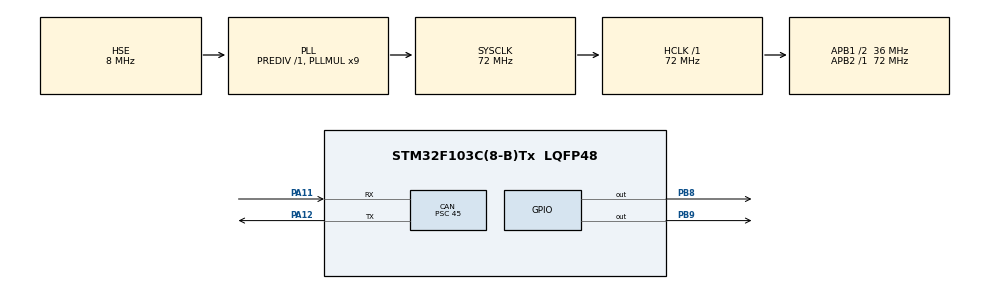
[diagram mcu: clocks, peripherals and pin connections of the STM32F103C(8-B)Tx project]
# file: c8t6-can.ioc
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CAN.BS1=CAN_BS1_3TQ
CAN.BS2=CAN_BS2_4TQ
CAN.CalculateBaudRate=100000
CAN.CalculateTimeBit=10000.00
CAN.CalculateTimeQuantum=1250.0
CAN.Mode=CAN_MODE_LOOPBACK
CAN.Prescaler=45
CAN.SJW=CAN_SJW_2TQ
Mcu.Family=STM32F1
Mcu.Name=STM32F103C(8-B)Tx
Mcu.Package=LQFP48
NVIC.PriorityGroup=NVIC_PRIORITYGROUP_4
NVIC.USB_LP_CAN1_RX0_IRQn=true\:0\:0\:false\:false\:true\:true\:true
PA11.Mode=CAN_Activate
PA11.Signal=CAN_RX
PA12.Mode=CAN_Activate
PA12.Signal=CAN_TX
PA13.Mode=Serial_Wire
PA13.Signal=SYS_JTMS-SWDIO
PA14.Mode=Serial_Wire
PA14.Signal=SYS_JTCK-SWCLK
PB8.GPIO_PuPd=GPIO_PULLUP
PB8.Signal=GPIO_Output
PB9.Signal=GPIO_Output
PD0-OSC_IN.Mode=HSE-External-Oscillator
PD0-OSC_IN.Signal=RCC_OSC_IN
PD1-OSC_OUT.Mode=HSE-External-Oscillator
PD1-OSC_OUT.Signal=RCC_OSC_OUT
ProjectManager.HeapSize=0x200
ProjectManager.StackSize=0x400
ProjectManager.TargetToolchain=MDK-ARM V5.27
RCC.AHBFreq_Value=72000000
RCC.APB1CLKDivider=RCC_HCLK_DIV2
RCC.APB1Freq_Value=36000000
RCC.APB1TimFreq_Value=72000000
RCC.APB2Freq_Value=72000000
RCC.APB2TimFreq_Value=72000000
RCC.HCLKFreq_Value=72000000
RCC.PLLMUL=RCC_PLL_MUL9
RCC.PLLSourceVirtual=RCC_PLLSOURCE_HSE
RCC.SYSCLKFreq_VALUE=72000000
RCC.SYSCLKSource=RCC_SYSCLKSOURCE_PLLCLK
RCC.USBFreq_Value=72000000
board=custom

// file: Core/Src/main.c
/* USER CODE BEGIN Header */
/**
  ******************************************************************************
  * @file           : main.c
  * @brief          : Main program body
  ******************************************************************************
  * @attention
  *
  * <h2><center>&copy; Copyright (c) 2025 STMicroelectronics.
  * All rights reserved.</center></h2>
  *
  * This software component is licensed by ST under BSD 3-Clause license,
  * the "License"; You may not use this file except in compliance with the
  * License. You may obtain a copy of the License at:
  *                        opensource.org/licenses/BSD-3-Clause
  *
  ******************************************************************************
  */
/* USER CODE END Header */
#include "main.h"

/* USER CODE BEGIN Includes */
#include "stdio.h"
#include "oled.h"
/* USER CODE END Includes */

CAN_HandleTypeDef hcan;

/* USER CODE BEGIN PV */

CAN_TxHeaderTypeDef TxHeader;
uint8_t TxData[8] = {0x01, 0x02, 0x03, 0x04, 0x05, 0x06, 0x07, 0x08};
uint32_t TxMailbox;
CAN_RxHeaderTypeDef RxHeader;
uint8_t RxData[8];
uint8_t Rx_Flag=0;//CAN接收标志
/* USER CODE END PV */

void SystemClock_Config(void);
static void MX_GPIO_Init(void);
static void MX_CAN_Init(void);
/* USER CODE BEGIN PFP */

void filter_init(void);
void CAN_SendMessage(void);
void CAN_ReceiveMessage(void);
/* USER CODE END PFP */

int main(void)
{

  /* MCU Configuration--------------------------------------------------------*/

  /* Reset of all peripherals, Initializes the Flash interface and the Systick. */
  HAL_Init();

  /* Configure the system clock */
  SystemClock_Config();

  /* Initialize all configured peripherals */
  MX_GPIO_Init();
  MX_CAN_Init();
  /* USER CODE BEGIN 2 */

	// 初始化过滤器
	filter_init();

	// 初始化OLED
	OLED_Init();
  OLED_ColorTurn(0);
  OLED_DisplayTurn(0);
	uint8_t *oled_str = "Hello, OLED!";

	// 启动 CAN
	if (HAL_CAN_Start(&hcan)!= HAL_OK)
	{
			Error_Handler();
	}

	// 打开FIFO0的消息挂起中断，这样有消息时才会触发 Fifo0MsgPendingCallback
	HAL_CAN_ActivateNotification(&hcan, CAN_IT_RX_FIFO0_MSG_PENDING);

	// 发送消息
		CAN_SendMessage();
  /* USER CODE END 2 */

  /* Infinite loop */
  /* USER CODE BEGIN WHILE */
  while (1)
  {
		OLED_ShowString(5, 5,oled_str, 16, 1);
    OLED_Refresh();

		HAL_Delay(1000);

		//处理CAN接收数据
		if(Rx_Flag)
		{
				Rx_Flag = 0;//清空CAN接收标志
				uint8_t can_str[100]; // 确保缓冲区足够大，用于存储拼接后的字符串
				uint8_t *ptr = can_str; // 指针指向 can_str 的起始位置

				for (int i = 0; i < 8; i++) {
						// 每个字节转换为两位十六进制字符串
						sprintf((char*)ptr, "%02X ", RxData[i]);
						ptr += strlen((char*)ptr); // 更新指针到字符串末尾
				}
				OLED_ShowString(5, 25,can_str, 16, 1);
				OLED_Refresh();
		}

    /* USER CODE END WHILE */

  }
}

void SystemClock_Config(void)
{
  RCC_OscInitTypeDef RCC_OscInitStruct = {0};
  RCC_ClkInitTypeDef RCC_ClkInitStruct = {0};

  /** Initializes the RCC Oscillators according to the specified parameters
  * in the RCC_OscInitTypeDef structure.
  */
  RCC_OscInitStruct.OscillatorType = RCC_OSCILLATORTYPE_HSE;
  RCC_OscInitStruct.HSEState = RCC_HSE_ON;
  RCC_OscInitStruct.HSEPredivValue = RCC_HSE_PREDIV_DIV1;
  RCC_OscInitStruct.HSIState = RCC_HSI_ON;
  RCC_OscInitStruct.PLL.PLLState = RCC_PLL_ON;
  RCC_OscInitStruct.PLL.PLLSource = RCC_PLLSOURCE_HSE;
  RCC_OscInitStruct.PLL.PLLMUL = RCC_PLL_MUL9;
  if (HAL_RCC_OscConfig(&RCC_OscInitStruct) != HAL_OK)
  {
    Error_Handler();
  }
  /** Initializes the CPU, AHB and APB buses clocks
  */
  RCC_ClkInitStruct.ClockType = RCC_CLOCKTYPE_HCLK|RCC_CLOCKTYPE_SYSCLK
                              |RCC_CLOCKTYPE_PCLK1|RCC_CLOCKTYPE_PCLK2;
  RCC_ClkInitStruct.SYSCLKSource = RCC_SYSCLKSOURCE_PLLCLK;
  RCC_ClkInitStruct.AHBCLKDivider = RCC_SYSCLK_DIV1;
  RCC_ClkInitStruct.APB1CLKDivider = RCC_HCLK_DIV2;
  RCC_ClkInitStruct.APB2CLKDivider = RCC_HCLK_DIV1;

  if (HAL_RCC_ClockConfig(&RCC_ClkInitStruct, FLASH_LATENCY_2) != HAL_OK)
  {
    Error_Handler();
  }
}

static void MX_CAN_Init(void)
{

  hcan.Instance = CAN1;
  hcan.Init.Prescaler = 45;
  hcan.Init.Mode = CAN_MODE_LOOPBACK;
  hcan.Init.SyncJumpWidth = CAN_SJW_2TQ;
  hcan.Init.TimeSeg1 = CAN_BS1_3TQ;
  hcan.Init.TimeSeg2 = CAN_BS2_4TQ;
  hcan.Init.TimeTriggeredMode = DISABLE;
  hcan.Init.AutoBusOff = DISABLE;
  hcan.Init.AutoWakeUp = DISABLE;
  hcan.Init.AutoRetransmission = DISABLE;
  hcan.Init.ReceiveFifoLocked = DISABLE;
  hcan.Init.TransmitFifoPriority = DISABLE;
  if (HAL_CAN_Init(&hcan) != HAL_OK)
  {
    Error_Handler();
  }

}

static void MX_GPIO_Init(void)
{
  GPIO_InitTypeDef GPIO_InitStruct = {0};

  /* GPIO Ports Clock Enable */
  __HAL_RCC_GPIOD_CLK_ENABLE();
  __HAL_RCC_GPIOA_CLK_ENABLE();
  __HAL_RCC_GPIOB_CLK_ENABLE();

  /*Configure GPIO pin Output Level */
  HAL_GPIO_WritePin(GPIOB, GPIO_PIN_8|GPIO_PIN_9, GPIO_PIN_RESET);

  /*Configure GPIO pin : PB8 */
  GPIO_InitStruct.Pin = GPIO_PIN_8;
  GPIO_InitStruct.Mode = GPIO_MODE_OUTPUT_PP;
  GPIO_InitStruct.Pull = GPIO_PULLUP;
  GPIO_InitStruct.Speed = GPIO_SPEED_FREQ_LOW;
  HAL_GPIO_Init(GPIOB, &GPIO_InitStruct);

  /*Configure GPIO pin : PB9 */
  GPIO_InitStruct.Pin = GPIO_PIN_9;
  GPIO_InitStruct.Mode = GPIO_MODE_OUTPUT_PP;
  GPIO_InitStruct.Pull = GPIO_NOPULL;
  GPIO_InitStruct.Speed = GPIO_SPEED_FREQ_LOW;
  HAL_GPIO_Init(GPIOB, &GPIO_InitStruct);

}

/* USER CODE BEGIN 4 */

//添加CAN过滤器
void filter_init(void)
{
    HAL_StatusTypeDef HAL_Status;
    CAN_FilterTypeDef Filter0;
    Filter0.FilterBank = 1;//滤波器编号
    Filter0.FilterMode = CAN_FILTERMODE_IDMASK;
    Filter0.FilterScale = CAN_FILTERSCALE_32BIT;
    Filter0.FilterIdHigh = 0x00;
    Filter0.FilterIdLow = 0x00;
    Filter0.FilterMaskIdHigh = 0x00;
    Filter0.FilterMaskIdLow = 0x00;
    Filter0.FilterFIFOAssignment = CAN_FILTER_FIFO0;
    Filter0.FilterActivation = CAN_FILTER_ENABLE;

    HAL_Status = HAL_CAN_ConfigFilter(&hcan,&Filter0);
    if(HAL_Status != HAL_OK)
    {
//        printf("CAN Filter set Fail!code:%drn",HAL_Status);
        Error_Handler();
    }
}
void CAN_SendMessage(void)
{
    TxHeader.StdId = 0x123;
    TxHeader.ExtId = 0x00;
    TxHeader.RTR = CAN_RTR_DATA;
    TxHeader.IDE = CAN_ID_STD;
    TxHeader.DLC = 8;

    if (HAL_CAN_AddTxMessage(&hcan, &TxHeader, TxData, &TxMailbox)!= HAL_OK)
    {
        Error_Handler();
    }
}

//重定义CAN接收中断回调函数(必须要配置了过滤器并绑定FIFO0才能使用该中断函数，否则会引起UsageFault_Handler)
void HAL_CAN_RxFifo0MsgPendingCallback(CAN_HandleTypeDef *hcan)
{
    HAL_StatusTypeDef HAL_Status;
    if(hcan->Instance == CAN1)
    {
        HAL_Status = HAL_CAN_GetRxMessage(hcan,CAN_RX_FIFO0,&RxHeader,RxData);
        if(HAL_Status == HAL_OK)
        {
            //标记位置位
            Rx_Flag = 1;
        }
    }
}

void CAN_ReceiveMessage(void)
{
	if (HAL_CAN_GetRxFifoFillLevel(&hcan, CAN_RX_FIFO0) > 0)
  {
    if (HAL_CAN_GetRxMessage(&hcan, CAN_RX_FIFO0, &RxHeader, RxData) != HAL_OK)
    {
      // 接收失败
      Error_Handler();
    }
    else
    {
      // 处理接收到的数据
      // TODO: 在这里添加你的代码
			OLED_ShowString(30, 5,RxData, 16, 1);
			OLED_Refresh();

    }
  }
//    if (HAL_CAN_GetRxMessage(&hcan, CAN_RX_FIFO0, &RxHeader, RxData) == HAL_OK)
//    {
//				OLED_ShowString(30, 5,RxData, 16, 1);
//				OLED_Refresh();
//        // 处理接收到的数据
//
////        for (int i = 0; i < RxHeader.DLC; i++)
////        {
////            // 打印接收到的数据
//////            printf("Received data: %x\n", RxData[i]);
//////					OLED_ShowString(30, 5,RxData, 16, 1);
//////					OLED_Refresh();
////        }
//    }
}

/* USER CODE END 4 */

void Error_Handler(void)
{
  __disable_irq();
  while (1)
  {
  }
}

/************************ (C) COPYRIGHT STMicroelectronics *****END OF FILE****/
